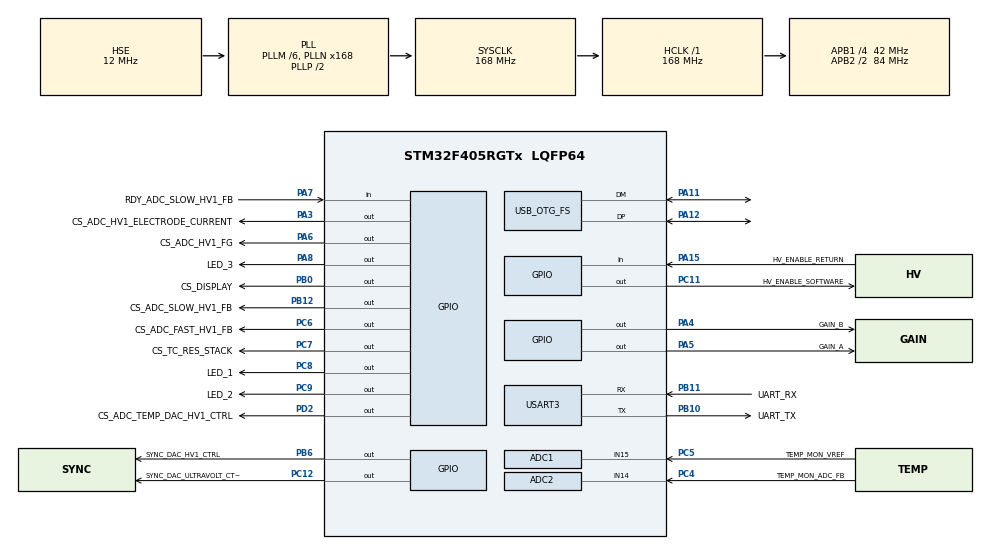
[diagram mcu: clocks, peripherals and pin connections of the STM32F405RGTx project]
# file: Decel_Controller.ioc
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ADC1.Channel-0\#ChannelRegularConversion=ADC_CHANNEL_15
ADC1.ClockPrescaler=ADC_CLOCK_SYNC_PCLK_DIV4
ADC1.NbrOfConversionFlag=1
ADC1.Rank-0\#ChannelRegularConversion=1
ADC1.SamplingTime-0\#ChannelRegularConversion=ADC_SAMPLETIME_3CYCLES
ADC1.master=1
ADC2.Channel-0\#ChannelRegularConversion=ADC_CHANNEL_14
ADC2.ClockPrescaler=ADC_CLOCK_SYNC_PCLK_DIV4
ADC2.NbrOfConversionFlag=1
ADC2.Rank-0\#ChannelRegularConversion=1
ADC2.SamplingTime-0\#ChannelRegularConversion=ADC_SAMPLETIME_3CYCLES
Mcu.Family=STM32F4
Mcu.Name=STM32F405RGTx
Mcu.Package=LQFP64
NVIC.OTG_FS_IRQn=true\:0\:0\:false\:false\:true\:false\:true\:true
NVIC.PriorityGroup=NVIC_PRIORITYGROUP_4
NVIC.USART3_IRQn=true\:0\:0\:false\:false\:true\:true\:true\:true
PA11.Mode=Device_Only
PA11.Signal=USB_OTG_FS_DM
PA12.Mode=Device_Only
PA12.Signal=USB_OTG_FS_DP
PA13.Mode=Serial_Wire
PA13.Signal=SYS_JTMS-SWDIO
PA14.Mode=Serial_Wire
PA14.Signal=SYS_JTCK-SWCLK
PA15.GPIO_Label=HV_ENABLE_RETURN
PA15.GPIO_PuPd=GPIO_PULLDOWN
PA15.Signal=GPIO_Input
PA3.GPIO_Label=CS_ADC_HV1_ELECTRODE_CURRENT
PA3.GPIO_Speed=GPIO_SPEED_FREQ_VERY_HIGH
PA3.PinState=GPIO_PIN_SET
PA3.Signal=GPIO_Output
PA4.GPIO_Label=GAIN_B
PA4.Signal=GPIO_Output
PA5.GPIO_Label=GAIN_A
PA5.Signal=GPIO_Output
PA6.GPIO_Label=CS_ADC_HV1_FG
PA6.GPIO_Speed=GPIO_SPEED_FREQ_VERY_HIGH
PA6.PinState=GPIO_PIN_SET
PA6.Signal=GPIO_Output
PA7.GPIO_Label=RDY_ADC_SLOW_HV1_FB
PA7.Signal=GPIO_Input
PA8.GPIO_Label=LED_3
PA8.Signal=GPIO_Output
PB0.GPIO_Label=CS_DISPLAY
PB0.GPIO_Speed=GPIO_SPEED_FREQ_VERY_HIGH
PB0.PinState=GPIO_PIN_SET
PB0.Signal=GPIO_Output
PB10.GPIO_Label=UART_TX
PB10.Mode=Asynchronous
PB10.Signal=USART3_TX
PB11.GPIO_Label=UART_RX
PB11.Mode=Asynchronous
PB11.Signal=USART3_RX
PB12.GPIO_Label=CS_ADC_SLOW_HV1_FB
PB12.GPIO_Speed=GPIO_SPEED_FREQ_LOW
PB12.PinState=GPIO_PIN_SET
PB12.Signal=GPIO_Output
PB6.GPIO_Label=SYNC_DAC_HV1_CTRL
PB6.GPIO_Speed=GPIO_SPEED_FREQ_VERY_HIGH
PB6.PinState=GPIO_PIN_SET
PB6.Signal=GPIO_Output
PC11.GPIO_Label=HV_ENABLE_SOFTWARE
PC11.Signal=GPIO_Output
PC12.GPIO_Label=SYNC_DAC_ULTRAVOLT_CTRL
PC12.GPIO_Speed=GPIO_SPEED_FREQ_VERY_HIGH
PC12.PinState=GPIO_PIN_SET
PC12.Signal=GPIO_Output
PC14-OSC32_IN.Mode=LSE-External-Oscillator
PC14-OSC32_IN.Signal=RCC_OSC32_IN
PC15-OSC32_OUT.Mode=LSE-External-Oscillator
PC15-OSC32_OUT.Signal=RCC_OSC32_OUT
PC4.GPIO_Label=TEMP_MON_ADC_FB
PC4.Signal=ADCx_IN14
PC5.GPIO_Label=TEMP_MON_VREF
PC5.Signal=ADCx_IN15
PC6.GPIO_Label=CS_ADC_FAST_HV1_FB
PC6.GPIO_Speed=GPIO_SPEED_FREQ_VERY_HIGH
PC6.PinState=GPIO_PIN_SET
PC6.Signal=GPIO_Output
PC7.GPIO_Label=CS_TC_RES_STACK
PC7.GPIO_Speed=GPIO_SPEED_FREQ_VERY_HIGH
PC7.PinState=GPIO_PIN_SET
PC7.Signal=GPIO_Output
PC8.GPIO_Label=LED_1
PC8.Signal=GPIO_Output
PC9.GPIO_Label=LED_2
PC9.Signal=GPIO_Output
PD2.GPIO_Label=CS_ADC_TEMP_DAC_HV1_CTRL
PD2.GPIO_Speed=GPIO_SPEED_FREQ_VERY_HIGH
PD2.PinState=GPIO_PIN_SET
PD2.Signal=GPIO_Output
PH0-OSC_IN.Mode=HSE-External-Oscillator
PH0-OSC_IN.Signal=RCC_OSC_IN
PH1-OSC_OUT.Mode=HSE-External-Oscillator
PH1-OSC_OUT.Signal=RCC_OSC_OUT
ProjectManager.HeapSize=0x200
ProjectManager.StackSize=0x400
ProjectManager.TargetToolchain=STM32CubeIDE
RCC.48MHZClocksFreq_Value=48000000
RCC.AHBFreq_Value=168000000
RCC.APB1CLKDivider=RCC_HCLK_DIV4
RCC.APB1Freq_Value=42000000
RCC.APB1TimFreq_Value=84000000
RCC.APB2CLKDivider=RCC_HCLK_DIV2
RCC.APB2Freq_Value=84000000
RCC.APB2TimFreq_Value=168000000
RCC.CortexFreq_Value=168000000
RCC.HCLKFreq_Value=168000000
RCC.HSE_VALUE=12000000
RCC.HSI_VALUE=16000000
RCC.PLLM=6
RCC.PLLN=168
RCC.PLLQ=7
RCC.RCC_RTC_Clock_Source=RCC_RTCCLKSOURCE_LSE
RCC.RCC_RTC_Clock_SourceVirtual=RCC_RTCCLKSOURCE_LSE
RCC.SYSCLKFreq_VALUE=168000000
RCC.SYSCLKSource=RCC_SYSCLKSOURCE_PLLCLK
RCC.VCOOutputFreq_Value=336000000
SH.ADCx_IN14.0=ADC2_IN14,IN14
SH.ADCx_IN15.0=ADC1_IN15,IN15
USART3.VirtualMode=VM_ASYNC
USB_DEVICE.CLASS_NAME_FS=CDC
USB_DEVICE.USBD_SELF_POWERED-CDC_FS=1
USB_DEVICE.VirtualMode-CDC_FS=Cdc
USB_DEVICE.VirtualModeFS=Cdc_FS
USB_OTG_FS.VirtualMode=Device_Only
VP_RTC_VS_RTC_Activate.Mode=RTC_Enabled
VP_RTC_VS_RTC_Calendar.Mode=RTC_Calendar
VP_USB_DEVICE_VS_USB_DEVICE_CDC_FS.Mode=CDC_FS
board=custom

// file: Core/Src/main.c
/* USER CODE BEGIN Header */
/**
  ******************************************************************************
  * @file           : main.c
  * @brief          : Main program body
  ******************************************************************************
  * @attention
  *
  *dfu-util -a 0 -s 0x08000000:leave -D <MY_PROGRAM>.bin
  *
  * Copyright (c) 2023 STMicroelectronics.
  * All rights reserved.
  *
  * This software is licensed under terms that can be found in the LICENSE file
  * in the root directory of this software component.
  * If no LICENSE file comes with this software, it is provided AS-IS.
  *
  ******************************************************************************
  */
/* USER CODE END Header */
#include "main.h"
#include "usb_device.h"

/* USER CODE BEGIN Includes */
#include "max11270.h"
#include "mcp33131.h"
#include "max6225.h"
#include "board.h"
#include "ad5763.h"
#include "misc_funcs.h"
#include "stdint.h"
#include <string.h>
#include <stdio.h>
#include "usbd_cdc_if.h"
#include "stm32f4xx_hal_rcc.h"
#include "errno.h"
#include "spi_bare.h"
/* USER CODE END Includes */

ADC_HandleTypeDef hadc1;
ADC_HandleTypeDef hadc2;

RTC_HandleTypeDef hrtc;

UART_HandleTypeDef huart3;

/* USER CODE BEGIN PV */
struct command_handler cmd_hdlr;
/* USER CODE END PV */

void SystemClock_Config(void);
static void MX_GPIO_Init(void);
static void MX_ADC1_Init(void);
static void MX_ADC2_Init(void);
static void MX_RTC_Init(void);
static void MX_USART3_UART_Init(void);

int main(void)
{

  /* MCU Configuration--------------------------------------------------------*/

  /* Reset of all peripherals, Initializes the Flash interface and the Systick. */
  HAL_Init();

  /* USER CODE BEGIN Init */
	// allows access to clock cycles
	CoreDebug->DEMCR |= CoreDebug_DEMCR_TRCENA_Msk;
	DWT->CYCCNT = 0;
	DWT->CTRL |= DWT_CTRL_CYCCNTENA_Msk;
  /* USER CODE END Init */

  /* Configure the system clock */
  SystemClock_Config();

  /* Initialize all configured peripherals */
  MX_GPIO_Init();
  MX_ADC1_Init();
  MX_ADC2_Init();
  MX_RTC_Init();
  MX_USART3_UART_Init();
  MX_USB_DEVICE_Init();
  /* USER CODE BEGIN 2 */
	SPIConfig();
	SPI_Enable(SPI1);
	SPI_Enable(SPI2);

	uint8_t verbose = 1; 		// levels 0, 1, 2 - produces increasingly descriptive serial output
	splash_message(verbose);	// says a little hello and some system information and settings
	led_twinkle(150); 			//allows Vref to settle before attempting calibration

	cmd_hdlr = init_command_handler(verbose); // global for interrupt access
	HAL_UART_Receive_IT(&huart3, (uint8_t *)cmd_hdlr.buffer_uart_rx, 64); // start listening for data over fibre-optic UART

	// Initialise and setup the various peripheral devices, ADC's, DAC's etc.
	struct board decel_board = init_board(verbose);
	struct max11270_device adc_slow_hv1_fb =
		  init_max11270(CS_ADC_SLOW_HV1_FB_Pin, CS_ADC_SLOW_HV1_FB_GPIO_Port,
				  RDY_ADC_SLOW_HV1_FB_Pin, RDY_ADC_SLOW_HV1_FB_GPIO_Port, 0, SPI2, verbose, "Vfb_slow_ADC");
	struct mcp33131_device adc_fast_hv1_fb =
		  init_mcp33131(CS_ADC_FAST_HV1_FB_Pin, CS_ADC_FAST_HV1_FB_GPIO_Port, SPI2, verbose, "Vfb_ADC");
	struct mcp33131_device adc_hv1_fg =
		  init_mcp33131(CS_ADC_HV1_FG_Pin, CS_ADC_HV1_FG_GPIO_Port, SPI2, verbose, "Vfg_ADC");
	struct mcp33131_device adc_temp_dac_hv1_ctrl =
		  init_mcp33131(CS_ADC_TEMP_DAC_HV1_CTRL_Pin, CS_ADC_TEMP_DAC_HV1_CTRL_GPIO_Port, SPI1, verbose, "DAC_temp_ADC");
	struct ad5763_device dac_hv1 =
		  init_ad5763(SYNC_DAC_HV1_CTRL_Pin, SYNC_DAC_HV1_CTRL_GPIO_Port, SPI1,
				  HV1_COARSE_OFFSET, HV1_COARSE_GAIN, HV1_FINE_OFFSET, HV1_FINE_GAIN, verbose, "DAC_HV", "coarse", "fine");
	set_offset_bits(&dac_hv1, 1, 241); //approx -310uV offset to output

	struct ad5763_device dac_ultravolt =
		  init_ad5763(SYNC_DAC_ULTRAVOLT_CTRL_Pin, SYNC_DAC_ULTRAVOLT_CTRL_GPIO_Port, SPI1,
				  UVA_OFFSET, UVA_GAIN, UVB_OFFSET, UVB_GAIN, verbose, "DAC_UV", "A", "B");
	set_offset_bits(&dac_ultravolt, 1, 177);
	set_offset_bits(&dac_ultravolt, 2, 192);
	set_gainfine_bits(&dac_ultravolt, 1, 32);
	set_gainfine_bits(&dac_ultravolt, 2, 32);

	struct max6225_device vref = init_max6225(verbose);
  /* USER CODE END 2 */

  /* Infinite loop */
  /* USER CODE BEGIN WHILE */
	while (1)
	{
		// Fast updates

		// Check interlock status and enable/disbale high-voltage outputs
		update_interlock(&decel_board, verbose);

		// Check for new commands from Serial/Fibre-Optic, act on requests
		if (check_cmd(verbose) == 1)
		{
			act_cmd(cmd_hdlr.cmd, &decel_board, &adc_slow_hv1_fb, &dac_ultravolt, verbose);
		}

		// Get latest measurements from voltage readings
		/*if (updateVoltageMeasurements(&decel_board, &adc_slow_hv1_fb, &adc_fast_hv1_fb, &adc_hv1_fg, &vref, 0))
			update_decel(&decel_board, &dac_hv1, 1);*/

		// Slow updates
		if (HAL_GetTick() - decel_board.last_slow_update > (SLOW_UPDATE_PERIOD))
		{
			updateTemperatures(&decel_board, &hadc1, &hadc2, &adc_temp_dac_hv1_ctrl, &vref, 0);
			set_stage_uV(&dac_hv1, 1, decel_board.target_decel_voltage * 1000000.0 / 2000.0, verbose);
			HAL_GPIO_TogglePin(LED_1_GPIO_Port, LED_1_Pin); // Heartbeat <3
			decel_board.last_slow_update = HAL_GetTick();
		}
	}
  /* USER CODE END 3 */
}

void SystemClock_Config(void)
{
  RCC_OscInitTypeDef RCC_OscInitStruct = {0};
  RCC_ClkInitTypeDef RCC_ClkInitStruct = {0};

  /** Configure the main internal regulator output voltage
  */
  __HAL_RCC_PWR_CLK_ENABLE();
  __HAL_PWR_VOLTAGESCALING_CONFIG(PWR_REGULATOR_VOLTAGE_SCALE1);

  /** Initializes the RCC Oscillators according to the specified parameters
  * in the RCC_OscInitTypeDef structure.
  */
  RCC_OscInitStruct.OscillatorType = RCC_OSCILLATORTYPE_HSE|RCC_OSCILLATORTYPE_LSE;
  RCC_OscInitStruct.HSEState = RCC_HSE_ON;
  RCC_OscInitStruct.LSEState = RCC_LSE_ON;
  RCC_OscInitStruct.PLL.PLLState = RCC_PLL_ON;
  RCC_OscInitStruct.PLL.PLLSource = RCC_PLLSOURCE_HSE;
  RCC_OscInitStruct.PLL.PLLM = 6;
  RCC_OscInitStruct.PLL.PLLN = 168;
  RCC_OscInitStruct.PLL.PLLP = RCC_PLLP_DIV2;
  RCC_OscInitStruct.PLL.PLLQ = 7;
  if (HAL_RCC_OscConfig(&RCC_OscInitStruct) != HAL_OK)
  {
    Error_Handler();
  }

  /** Initializes the CPU, AHB and APB buses clocks
  */
  RCC_ClkInitStruct.ClockType = RCC_CLOCKTYPE_HCLK|RCC_CLOCKTYPE_SYSCLK
                              |RCC_CLOCKTYPE_PCLK1|RCC_CLOCKTYPE_PCLK2;
  RCC_ClkInitStruct.SYSCLKSource = RCC_SYSCLKSOURCE_PLLCLK;
  RCC_ClkInitStruct.AHBCLKDivider = RCC_SYSCLK_DIV1;
  RCC_ClkInitStruct.APB1CLKDivider = RCC_HCLK_DIV4;
  RCC_ClkInitStruct.APB2CLKDivider = RCC_HCLK_DIV2;

  if (HAL_RCC_ClockConfig(&RCC_ClkInitStruct, FLASH_LATENCY_5) != HAL_OK)
  {
    Error_Handler();
  }
}

static void MX_ADC1_Init(void)
{

  ADC_ChannelConfTypeDef sConfig = {0};

  /** Configure the global features of the ADC (Clock, Resolution, Data Alignment and number of conversion)
  */
  hadc1.Instance = ADC1;
  hadc1.Init.ClockPrescaler = ADC_CLOCK_SYNC_PCLK_DIV4;
  hadc1.Init.Resolution = ADC_RESOLUTION_12B;
  hadc1.Init.ScanConvMode = DISABLE;
  hadc1.Init.ContinuousConvMode = DISABLE;
  hadc1.Init.DiscontinuousConvMode = DISABLE;
  hadc1.Init.ExternalTrigConvEdge = ADC_EXTERNALTRIGCONVEDGE_NONE;
  hadc1.Init.ExternalTrigConv = ADC_SOFTWARE_START;
  hadc1.Init.DataAlign = ADC_DATAALIGN_RIGHT;
  hadc1.Init.NbrOfConversion = 1;
  hadc1.Init.DMAContinuousRequests = DISABLE;
  hadc1.Init.EOCSelection = ADC_EOC_SINGLE_CONV;
  if (HAL_ADC_Init(&hadc1) != HAL_OK)
  {
    Error_Handler();
  }

  /** Configure for the selected ADC regular channel its corresponding rank in the sequencer and its sample time.
  */
  sConfig.Channel = ADC_CHANNEL_15;
  sConfig.Rank = 1;
  sConfig.SamplingTime = ADC_SAMPLETIME_3CYCLES;
  if (HAL_ADC_ConfigChannel(&hadc1, &sConfig) != HAL_OK)
  {
    Error_Handler();
  }

}

static void MX_ADC2_Init(void)
{

  ADC_ChannelConfTypeDef sConfig = {0};

  /** Configure the global features of the ADC (Clock, Resolution, Data Alignment and number of conversion)
  */
  hadc2.Instance = ADC2;
  hadc2.Init.ClockPrescaler = ADC_CLOCK_SYNC_PCLK_DIV4;
  hadc2.Init.Resolution = ADC_RESOLUTION_12B;
  hadc2.Init.ScanConvMode = DISABLE;
  hadc2.Init.ContinuousConvMode = DISABLE;
  hadc2.Init.DiscontinuousConvMode = DISABLE;
  hadc2.Init.ExternalTrigConvEdge = ADC_EXTERNALTRIGCONVEDGE_NONE;
  hadc2.Init.ExternalTrigConv = ADC_SOFTWARE_START;
  hadc2.Init.DataAlign = ADC_DATAALIGN_RIGHT;
  hadc2.Init.NbrOfConversion = 1;
  hadc2.Init.DMAContinuousRequests = DISABLE;
  hadc2.Init.EOCSelection = ADC_EOC_SINGLE_CONV;
  if (HAL_ADC_Init(&hadc2) != HAL_OK)
  {
    Error_Handler();
  }

  /** Configure for the selected ADC regular channel its corresponding rank in the sequencer and its sample time.
  */
  sConfig.Channel = ADC_CHANNEL_14;
  sConfig.Rank = 1;
  sConfig.SamplingTime = ADC_SAMPLETIME_3CYCLES;
  if (HAL_ADC_ConfigChannel(&hadc2, &sConfig) != HAL_OK)
  {
    Error_Handler();
  }

}

static void MX_RTC_Init(void)
{

  RTC_TimeTypeDef sTime = {0};
  RTC_DateTypeDef sDate = {0};

  /** Initialize RTC Only
  */
  hrtc.Instance = RTC;
  hrtc.Init.HourFormat = RTC_HOURFORMAT_24;
  hrtc.Init.AsynchPrediv = 127;
  hrtc.Init.SynchPrediv = 255;
  hrtc.Init.OutPut = RTC_OUTPUT_DISABLE;
  hrtc.Init.OutPutPolarity = RTC_OUTPUT_POLARITY_HIGH;
  hrtc.Init.OutPutType = RTC_OUTPUT_TYPE_OPENDRAIN;
  if (HAL_RTC_Init(&hrtc) != HAL_OK)
  {
    Error_Handler();
  }

  /** Initialize RTC and set the Time and Date
  */
  sTime.Hours = 0x0;
  sTime.Minutes = 0x0;
  sTime.Seconds = 0x0;
  sTime.DayLightSaving = RTC_DAYLIGHTSAVING_NONE;
  sTime.StoreOperation = RTC_STOREOPERATION_RESET;
  if (HAL_RTC_SetTime(&hrtc, &sTime, RTC_FORMAT_BCD) != HAL_OK)
  {
    Error_Handler();
  }
  sDate.WeekDay = RTC_WEEKDAY_MONDAY;
  sDate.Month = RTC_MONTH_JANUARY;
  sDate.Date = 0x1;
  sDate.Year = 0x0;

  if (HAL_RTC_SetDate(&hrtc, &sDate, RTC_FORMAT_BCD) != HAL_OK)
  {
    Error_Handler();
  }

}

static void MX_USART3_UART_Init(void)
{

  huart3.Instance = USART3;
  huart3.Init.BaudRate = 115200;
  huart3.Init.WordLength = UART_WORDLENGTH_8B;
  huart3.Init.StopBits = UART_STOPBITS_1;
  huart3.Init.Parity = UART_PARITY_NONE;
  huart3.Init.Mode = UART_MODE_TX_RX;
  huart3.Init.HwFlowCtl = UART_HWCONTROL_NONE;
  huart3.Init.OverSampling = UART_OVERSAMPLING_16;
  if (HAL_UART_Init(&huart3) != HAL_OK)
  {
    Error_Handler();
  }

}

static void MX_GPIO_Init(void)
{
  GPIO_InitTypeDef GPIO_InitStruct = {0};

  /* GPIO Ports Clock Enable */
  __HAL_RCC_GPIOC_CLK_ENABLE();
  __HAL_RCC_GPIOH_CLK_ENABLE();
  __HAL_RCC_GPIOA_CLK_ENABLE();
  __HAL_RCC_GPIOB_CLK_ENABLE();
  __HAL_RCC_GPIOD_CLK_ENABLE();

  /*Configure GPIO pin Output Level */
  HAL_GPIO_WritePin(GPIOA, CS_ADC_HV1_ELECTRODE_CURRENT_Pin|CS_ADC_HV1_FG_Pin, GPIO_PIN_SET);

  /*Configure GPIO pin Output Level */
  HAL_GPIO_WritePin(GPIOA, GAIN_B_Pin|GAIN_A_Pin|LED_3_Pin, GPIO_PIN_RESET);

  /*Configure GPIO pin Output Level */
  HAL_GPIO_WritePin(GPIOB, CS_DISPLAY_Pin|CS_ADC_SLOW_HV1_FB_Pin|SYNC_DAC_HV1_CTRL_Pin, GPIO_PIN_SET);

  /*Configure GPIO pin Output Level */
  HAL_GPIO_WritePin(GPIOC, CS_ADC_FAST_HV1_FB_Pin|CS_TC_RES_STACK_Pin|SYNC_DAC_ULTRAVOLT_CTRL_Pin, GPIO_PIN_SET);

  /*Configure GPIO pin Output Level */
  HAL_GPIO_WritePin(GPIOC, LED_1_Pin|LED_2_Pin|HV_ENABLE_SOFTWARE_Pin, GPIO_PIN_RESET);

  /*Configure GPIO pin Output Level */
  HAL_GPIO_WritePin(CS_ADC_TEMP_DAC_HV1_CTRL_GPIO_Port, CS_ADC_TEMP_DAC_HV1_CTRL_Pin, GPIO_PIN_SET);

  /*Configure GPIO pins : CS_ADC_HV1_ELECTRODE_CURRENT_Pin CS_ADC_HV1_FG_Pin */
  GPIO_InitStruct.Pin = CS_ADC_HV1_ELECTRODE_CURRENT_Pin|CS_ADC_HV1_FG_Pin;
  GPIO_InitStruct.Mode = GPIO_MODE_OUTPUT_PP;
  GPIO_InitStruct.Pull = GPIO_NOPULL;
  GPIO_InitStruct.Speed = GPIO_SPEED_FREQ_VERY_HIGH;
  HAL_GPIO_Init(GPIOA, &GPIO_InitStruct);

  /*Configure GPIO pins : GAIN_B_Pin GAIN_A_Pin LED_3_Pin */
  GPIO_InitStruct.Pin = GAIN_B_Pin|GAIN_A_Pin|LED_3_Pin;
  GPIO_InitStruct.Mode = GPIO_MODE_OUTPUT_PP;
  GPIO_InitStruct.Pull = GPIO_NOPULL;
  GPIO_InitStruct.Speed = GPIO_SPEED_FREQ_LOW;
  HAL_GPIO_Init(GPIOA, &GPIO_InitStruct);

  /*Configure GPIO pin : RDY_ADC_SLOW_HV1_FB_Pin */
  GPIO_InitStruct.Pin = RDY_ADC_SLOW_HV1_FB_Pin;
  GPIO_InitStruct.Mode = GPIO_MODE_INPUT;
  GPIO_InitStruct.Pull = GPIO_NOPULL;
  HAL_GPIO_Init(RDY_ADC_SLOW_HV1_FB_GPIO_Port, &GPIO_InitStruct);

  /*Configure GPIO pins : CS_DISPLAY_Pin SYNC_DAC_HV1_CTRL_Pin */
  GPIO_InitStruct.Pin = CS_DISPLAY_Pin|SYNC_DAC_HV1_CTRL_Pin;
  GPIO_InitStruct.Mode = GPIO_MODE_OUTPUT_PP;
  GPIO_InitStruct.Pull = GPIO_NOPULL;
  GPIO_InitStruct.Speed = GPIO_SPEED_FREQ_VERY_HIGH;
  HAL_GPIO_Init(GPIOB, &GPIO_InitStruct);

  /*Configure GPIO pin : CS_ADC_SLOW_HV1_FB_Pin */
  GPIO_InitStruct.Pin = CS_ADC_SLOW_HV1_FB_Pin;
  GPIO_InitStruct.Mode = GPIO_MODE_OUTPUT_PP;
  GPIO_InitStruct.Pull = GPIO_NOPULL;
  GPIO_InitStruct.Speed = GPIO_SPEED_FREQ_LOW;
  HAL_GPIO_Init(CS_ADC_SLOW_HV1_FB_GPIO_Port, &GPIO_InitStruct);

  /*Configure GPIO pins : CS_ADC_FAST_HV1_FB_Pin CS_TC_RES_STACK_Pin SYNC_DAC_ULTRAVOLT_CTRL_Pin */
  GPIO_InitStruct.Pin = CS_ADC_FAST_HV1_FB_Pin|CS_TC_RES_STACK_Pin|SYNC_DAC_ULTRAVOLT_CTRL_Pin;
  GPIO_InitStruct.Mode = GPIO_MODE_OUTPUT_PP;
  GPIO_InitStruct.Pull = GPIO_NOPULL;
  GPIO_InitStruct.Speed = GPIO_SPEED_FREQ_VERY_HIGH;
  HAL_GPIO_Init(GPIOC, &GPIO_InitStruct);

  /*Configure GPIO pins : LED_1_Pin LED_2_Pin HV_ENABLE_SOFTWARE_Pin */
  GPIO_InitStruct.Pin = LED_1_Pin|LED_2_Pin|HV_ENABLE_SOFTWARE_Pin;
  GPIO_InitStruct.Mode = GPIO_MODE_OUTPUT_PP;
  GPIO_InitStruct.Pull = GPIO_NOPULL;
  GPIO_InitStruct.Speed = GPIO_SPEED_FREQ_LOW;
  HAL_GPIO_Init(GPIOC, &GPIO_InitStruct);

  /*Configure GPIO pin : HV_ENABLE_RETURN_Pin */
  GPIO_InitStruct.Pin = HV_ENABLE_RETURN_Pin;
  GPIO_InitStruct.Mode = GPIO_MODE_INPUT;
  GPIO_InitStruct.Pull = GPIO_PULLDOWN;
  HAL_GPIO_Init(HV_ENABLE_RETURN_GPIO_Port, &GPIO_InitStruct);

  /*Configure GPIO pin : CS_ADC_TEMP_DAC_HV1_CTRL_Pin */
  GPIO_InitStruct.Pin = CS_ADC_TEMP_DAC_HV1_CTRL_Pin;
  GPIO_InitStruct.Mode = GPIO_MODE_OUTPUT_PP;
  GPIO_InitStruct.Pull = GPIO_NOPULL;
  GPIO_InitStruct.Speed = GPIO_SPEED_FREQ_VERY_HIGH;
  HAL_GPIO_Init(CS_ADC_TEMP_DAC_HV1_CTRL_GPIO_Port, &GPIO_InitStruct);

}

void Error_Handler(void)
{
  /* USER CODE BEGIN Error_Handler_Debug */
	/* User can add his own implementation to report the HAL error return state */
	__disable_irq();
	while (1)
	{
		led_twinkle(10);
		println("ERROR!");

	}
  /* USER CODE END Error_Handler_Debug */
}
